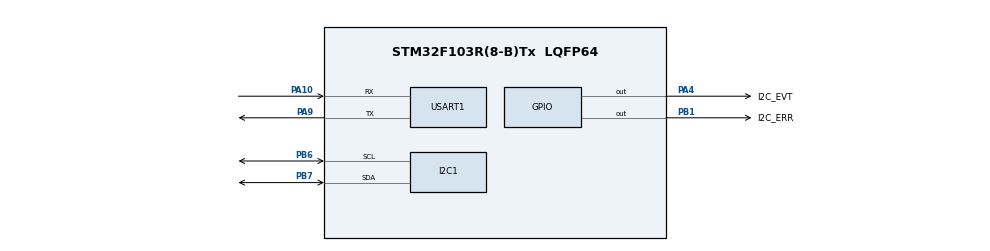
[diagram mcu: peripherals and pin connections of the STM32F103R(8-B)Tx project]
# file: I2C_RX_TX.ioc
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Mcu.Family=STM32F1
Mcu.Name=STM32F103R(8-B)Tx
Mcu.Package=LQFP64
NVIC.I2C1_ER_IRQn=true\:0\:0\:false\:false\:true\:true\:true\:true
NVIC.I2C1_EV_IRQn=true\:0\:0\:false\:false\:true\:true\:true\:true
NVIC.PriorityGroup=NVIC_PRIORITYGROUP_4
PA10.Mode=Asynchronous
PA10.Signal=USART1_RX
PA4.GPIO_Label=I2C_EVT
PA4.Signal=GPIO_Output
PA9.Mode=Asynchronous
PA9.Signal=USART1_TX
PB1.GPIO_Label=I2C_ERR
PB1.Signal=GPIO_Output
PB6.Mode=I2C
PB6.Signal=I2C1_SCL
PB7.Mode=I2C
PB7.Signal=I2C1_SDA
ProjectManager.HeapSize=0x200
ProjectManager.StackSize=0x400
ProjectManager.TargetToolchain=CMake
RCC.APB1Freq_Value=8000000
RCC.APB2Freq_Value=8000000
USART1.VirtualMode=VM_ASYNC
VP_SYS_VS_ND.Mode=No_Debug
board=custom

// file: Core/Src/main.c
/* USER CODE BEGIN Header */
/**
  ******************************************************************************
  * @file           : main.c
  * @brief          : Main program body
  ******************************************************************************
  * @attention
  *
  * Copyright (c) 2025 STMicroelectronics.
  * All rights reserved.
  *
  * This software is licensed under terms that can be found in the LICENSE file
  * in the root directory of this software component.
  * If no LICENSE file comes with this software, it is provided AS-IS.
  *
  ******************************************************************************
  */
/* USER CODE END Header */
#include <stdio.h>
#include <string.h>
#include <stddef.h>
#include <stdbool.h>

/* USER CODE BEGIN Includes */
#include "main.h"
#include "i2c.h"
#include "usart.h"
#include "gpio.h"
/* USER CODE END Includes */

/* USER CODE BEGIN PV */
  bool writeComplete = false;
  bool readComplete = false;
/* USER CODE END PV */

void SystemClock_Config(void);

/* USER CODE BEGIN 0 */
int __io_putchar(int ch)
{
  HAL_UART_Transmit(&huart1, (uint8_t *)&ch, 1, HAL_MAX_DELAY & 0xFFFF);
  return ch;
}
/* USER CODE END 0 */

int main(void)
{

  /* MCU Configuration--------------------------------------------------------*/

  /* Reset of all peripherals, Initializes the Flash interface and the Systick. */
  HAL_Init();

  /* Configure the system clock */
  SystemClock_Config();

  /* Initialize all configured peripherals */
  MX_GPIO_Init();
  MX_I2C1_Init();
  MX_USART1_UART_Init();
  /* USER CODE BEGIN 2 */
  uint8_t data[] = {0x08, 0x55}; // Data byte to write to EEPROM
  uint16_t deviceAddress = 0x50;

  if(HAL_I2C_Master_Transmit_IT(&hi2c1, (deviceAddress << 1), data, sizeof(data)) != HAL_OK)
  {
    // Transmission Error
    printf("I2C Transmission Error\r\n");
    Error_Handler();
  }
  else
  {
    while(!writeComplete);
    printf("Data sent: 0x%02X to EEPROM at address 0x%02X\r\n", data[1], data[0]);
  }
  HAL_Delay(10); // Wait for EEPROM to complete the write operation
  /* Read back */
  uint8_t readData = 0;
  uint8_t readAddr = 0x08;
  writeComplete = false;
  /* Send address */
  if(HAL_I2C_Master_Transmit_IT(&hi2c1, (deviceAddress << 1), &readAddr, sizeof(readAddr)) != HAL_OK)
  {
    printf("Master address write operation failed\r\n");
    Error_Handler();
  }
  else
  {
    while(!writeComplete);
    printf("Address 0x%02X sent to EEPROM for read\r\n", readAddr);
  }
  HAL_Delay(100);
  if(HAL_I2C_Master_Receive_IT(&hi2c1, (deviceAddress << 1), &readData, sizeof(readData)) != HAL_OK)
  {
    printf("Master read data operation failed\r\n");
    Error_Handler();
  }
  else
  {
    while(!readComplete);
    printf("Data read: 0x%02X from EEPROM at address 0x%02X\r\n", readData, readAddr);
  }
  data[1] = 0xFF;
  if(HAL_I2C_Master_Transmit(&hi2c1, (deviceAddress << 1), data, sizeof(data), HAL_MAX_DELAY) != HAL_OK)
  {
    // Transmission Error
    printf("I2C Transmission Error\r\n");
    Error_Handler();
  }
  else
  {
    printf("Data sent: 0x%02X to EEPROM at address 0x%02X\r\n", data[1], data[0]);
  }
  HAL_Delay(10); // Wait for EEPROM to complete the write operation
  /* Read back */
  readData = 0;
  readAddr = 0x08;
  /* Send address */
  if(HAL_I2C_Master_Transmit(&hi2c1, (deviceAddress << 1), &readAddr, sizeof(readAddr), 0xFFFF) != HAL_OK)
  {
    printf("Master address write operation failed\r\n");
    Error_Handler();
  }
  HAL_Delay(10);
  if(HAL_I2C_Master_Receive(&hi2c1, (deviceAddress << 1), &readData, sizeof(readData), 0xFFFF) != HAL_OK)
  {
    printf("Master read data operation failed\r\n");
    Error_Handler();
  }
  else
  {
    printf("Data read: 0x%02X from EEPROM at address 0x%02X\r\n", readData, readAddr);
  }
  /* USER CODE END 2 */

  /* Infinite loop */
  while (1)
  {

  }
}

void SystemClock_Config(void)
{
  RCC_OscInitTypeDef RCC_OscInitStruct = {0};
  RCC_ClkInitTypeDef RCC_ClkInitStruct = {0};

  /** Initializes the RCC Oscillators according to the specified parameters
  * in the RCC_OscInitTypeDef structure.
  */
  RCC_OscInitStruct.OscillatorType = RCC_OSCILLATORTYPE_HSI;
  RCC_OscInitStruct.HSIState = RCC_HSI_ON;
  RCC_OscInitStruct.HSICalibrationValue = RCC_HSICALIBRATION_DEFAULT;
  RCC_OscInitStruct.PLL.PLLState = RCC_PLL_NONE;
  if (HAL_RCC_OscConfig(&RCC_OscInitStruct) != HAL_OK)
  {
    Error_Handler();
  }

  /** Initializes the CPU, AHB and APB buses clocks
  */
  RCC_ClkInitStruct.ClockType = RCC_CLOCKTYPE_HCLK|RCC_CLOCKTYPE_SYSCLK
                              |RCC_CLOCKTYPE_PCLK1|RCC_CLOCKTYPE_PCLK2;
  RCC_ClkInitStruct.SYSCLKSource = RCC_SYSCLKSOURCE_HSI;
  RCC_ClkInitStruct.AHBCLKDivider = RCC_SYSCLK_DIV1;
  RCC_ClkInitStruct.APB1CLKDivider = RCC_HCLK_DIV1;
  RCC_ClkInitStruct.APB2CLKDivider = RCC_HCLK_DIV1;

  if (HAL_RCC_ClockConfig(&RCC_ClkInitStruct, FLASH_LATENCY_0) != HAL_OK)
  {
    Error_Handler();
  }
}

/* USER CODE BEGIN 4 */
void HAL_I2C_MasterTxCpltCallback(I2C_HandleTypeDef *hi2c)
{
  if(hi2c->Instance == I2C1) // Ensure it's the correct I2C instance
  {
    writeComplete = true; // Set the flag to indicate transmission is complete
  }
}
void HAL_I2C_MasterRxCpltCallback(I2C_HandleTypeDef *hi2c)
{
  if(hi2c->Instance == I2C1) // Ensure it's the correct I2C instance
  {
    readComplete = true; // Set the flag to indicate reception is complete
  }
}
void HAL_I2C_ErrorCallback(I2C_HandleTypeDef *hi2c)
{
  if(hi2c->Instance == I2C1) // Ensure it's the correct I2C instance
  {
    printf("I2C Error: 0x%lX\r\n", hi2c->ErrorCode);
    Error_Handler(); // Handle the error appropriately
  }
}
/* USER CODE END 4 */

void Error_Handler(void)
{
  __disable_irq();
  while (1)
  {
  }
}
